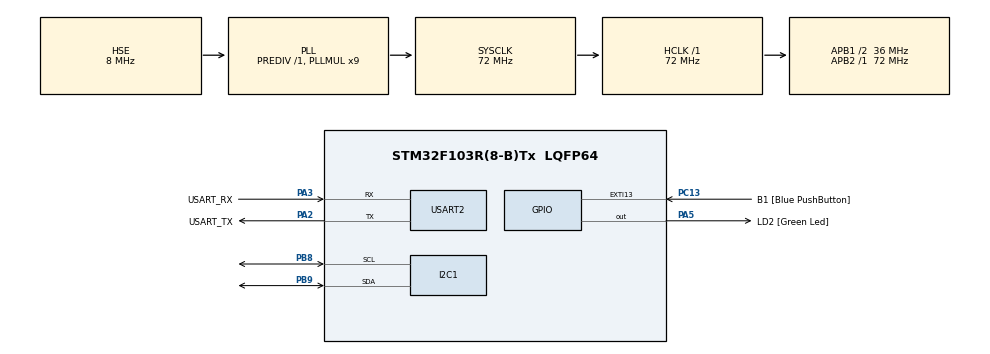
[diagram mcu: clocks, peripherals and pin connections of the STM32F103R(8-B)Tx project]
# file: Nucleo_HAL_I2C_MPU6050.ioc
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Mcu.Family=STM32F1
Mcu.Name=STM32F103R(8-B)Tx
Mcu.Package=LQFP64
NVIC.EXTI15_10_IRQn=true\:0\:0\:false\:false\:true\:true\:true
NVIC.PriorityGroup=NVIC_PRIORITYGROUP_4
PA13.GPIO_Label=TMS
PA13.Mode=Serial_Wire
PA13.Signal=SYS_JTMS-SWDIO
PA14.GPIO_Label=TCK
PA14.Mode=Serial_Wire
PA14.Signal=SYS_JTCK-SWCLK
PA2.GPIO_Label=USART_TX
PA2.GPIO_Mode=GPIO_MODE_AF_PP
PA2.GPIO_PuPd=GPIO_NOPULL
PA2.GPIO_Speed=GPIO_SPEED_FREQ_LOW
PA2.Mode=Asynchronous
PA2.Signal=USART2_TX
PA3.GPIO_Label=USART_RX
PA3.GPIO_Mode=GPIO_MODE_AF_PP
PA3.GPIO_PuPd=GPIO_NOPULL
PA3.GPIO_Speed=GPIO_SPEED_FREQ_LOW
PA3.Mode=Asynchronous
PA3.Signal=USART2_RX
PA5.GPIO_Label=LD2 [Green Led]
PA5.GPIO_ModeDefaultOutputPP=GPIO_MODE_OUTPUT_PP
PA5.GPIO_PuPd=GPIO_NOPULL
PA5.GPIO_Speed=GPIO_SPEED_FREQ_LOW
PA5.Signal=GPIO_Output
PB3.GPIO_Label=SWO
PB3.Signal=SYS_JTDO-TRACESWO
PB8.Mode=I2C
PB8.Signal=I2C1_SCL
PB9.Mode=I2C
PB9.Signal=I2C1_SDA
PC13-TAMPER-RTC.GPIO_Label=B1 [Blue PushButton]
PC13-TAMPER-RTC.GPIO_PuPd=GPIO_NOPULL
PC13-TAMPER-RTC.Signal=GPXTI13
PC14-OSC32_IN.Mode=LSE-External-Oscillator
PC14-OSC32_IN.Signal=RCC_OSC32_IN
PC15-OSC32_OUT.Mode=LSE-External-Oscillator
PC15-OSC32_OUT.Signal=RCC_OSC32_OUT
PD0-OSC_IN.Mode=HSE-External-Clock-Source
PD0-OSC_IN.Signal=RCC_OSC_IN
PD1-OSC_OUT.Mode=HSE-External-Clock-Source
PD1-OSC_OUT.Signal=RCC_OSC_OUT
ProjectManager.HeapSize=0x200
ProjectManager.StackSize=0x400
ProjectManager.TargetToolchain=SW4STM32
RCC.AHBFreq_Value=72000000
RCC.APB1CLKDivider=RCC_HCLK_DIV2
RCC.APB1Freq_Value=36000000
RCC.APB1TimFreq_Value=72000000
RCC.APB2Freq_Value=72000000
RCC.APB2TimFreq_Value=72000000
RCC.HCLKFreq_Value=72000000
RCC.PLLMUL=RCC_PLL_MUL9
RCC.PLLSourceVirtual=RCC_PLLSOURCE_HSE
RCC.RTCClockSelection=RCC_RTCCLKSOURCE_LSE
RCC.SYSCLKFreq_VALUE=72000000
RCC.SYSCLKSource=RCC_SYSCLKSOURCE_PLLCLK
RCC.USBFreq_Value=72000000
USART2.VirtualMode=VM_ASYNC
board=NUCLEO-F103RB

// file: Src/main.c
/* USER CODE BEGIN Header */
/**
  ******************************************************************************
  * @file           : main.c
  * @brief          : Main program body
  ******************************************************************************
  * @attention
  *
  * <h2><center>&copy; Copyright (c) 2019 STMicroelectronics.
  * All rights reserved.</center></h2>
  *
  * This software component is licensed by ST under BSD 3-Clause license,
  * the "License"; You may not use this file except in compliance with the
  * License. You may obtain a copy of the License at:
  *                        opensource.org/licenses/BSD-3-Clause
  *
  ******************************************************************************
  */
/* USER CODE END Header */

#include "main.h"

/* USER CODE BEGIN Includes */
#include "MPU6050.h"
/* USER CODE END Includes */

I2C_HandleTypeDef hi2c1;

UART_HandleTypeDef huart2;

void SystemClock_Config(void);
static void MX_GPIO_Init(void);
static void MX_USART2_UART_Init(void);
static void MX_I2C1_Init(void);
/* USER CODE BEGIN PFP */
int16_t Accel_X, Accel_Y, Accel_Z;
int16_t Gyro_X, Gyro_Y, Gyro_Z;
//uint8_t MPU6050 = MPU6050_DEFAULT_ADDRESS;
uint8_t MPU6050 = 0;
/* USER CODE END PFP */

/* USER CODE BEGIN 0 */
void MPU6050_Write(uint8_t Address, uint8_t data){
  HAL_I2C_Mem_Write(&hi2c1, MPU6050, Address, 1, (uint8_t *)&data, 1, 10);
}

void MPU6050_Write_bits(uint8_t Address, uint8_t bitStart, uint8_t length, uint8_t data){
  uint8_t tmp = 0;
  HAL_I2C_Mem_Read(&hi2c1, MPU6050, Address, 1, (uint8_t *)&tmp, 1, 10);
  uint8_t mask = 0;
  switch(length){
    case 1: mask = 0x01; break;
    case 2: mask = 0x03; break;
    case 3: mask = 0x07; break;
    case 4: mask = 0x0F; break;
    case 5: mask = 0x1F; break;
    case 6: mask = 0x3F; break;
    case 7: mask = 0x7F; break;
    case 8: mask = 0xFF; break;
  }
  tmp &= ~(mask << bitStart);
  tmp |= (data << bitStart);
  HAL_I2C_Mem_Write(&hi2c1, MPU6050, Address, 1, (uint8_t *)&tmp, 1, 10);
}

uint8_t MPU6050_Read(uint8_t Address){
  uint8_t data;
  HAL_I2C_Mem_Read(&hi2c1, MPU6050, Address, 1, (uint8_t *)&data, 1, 10);
  return data;
}

void init_MPU6050(void){
  while(HAL_I2C_IsDeviceReady(&hi2c1, MPU6050, 10, 1000)!=HAL_OK) {
    MPU6050++;
  }
  printf("MPU6050 I2C Address is 0x%02X(7bit value)\r\n", MPU6050>>1);

  uint8_t temp = MPU6050_Read(MPU6050_RA_WHO_AM_I);
  printf("Who am I = 0x%02X\r\n", temp);
  printf("MPU6050 Initialize..... \r\n");
  printf("--------------------------------------------------------\r\n");

  HAL_Delay(100);
  /* Power Management 1, SLEEP Diasble*/
  MPU6050_Write_bits(MPU6050_RA_PWR_MGMT_1, MPU6050_PWR1_SLEEP_BIT, MPU6050_PWR1_SLEEP_LENGTH, DISABLE);
  HAL_Delay(10);
  /* Power Management 1, Internal 8MHz oscillator */
  MPU6050_Write_bits(MPU6050_RA_PWR_MGMT_1, MPU6050_PWR1_CLKSEL_BIT, MPU6050_PWR1_CLKSEL_LENGTH, MPU6050_CLOCK_INTERNAL);
  /* Gyroscope Configuration, �� 250 ��/s, 131 LSB/��/s */
  MPU6050_Write_bits(MPU6050_RA_GYRO_CONFIG, MPU6050_GCONFIG_FS_SEL_BIT, MPU6050_GCONFIG_FS_SEL_LENGTH, MPU6050_GYRO_FS_250);
  /* Accelerometer Configuration, �� 2g, 16384 LSB/g */
  MPU6050_Write_bits(MPU6050_RA_ACCEL_CONFIG, MPU6050_ACONFIG_AFS_SEL_BIT, MPU6050_ACONFIG_AFS_SEL_LENGTH, MPU6050_ACCEL_FS_2);
}

void read_MPU6050_data(void){
  Accel_X = (MPU6050_Read(MPU6050_RA_ACCEL_XOUT_H)<<8) | MPU6050_Read(MPU6050_RA_ACCEL_XOUT_L);
  Accel_Y = (MPU6050_Read(MPU6050_RA_ACCEL_YOUT_H)<<8) | MPU6050_Read(MPU6050_RA_ACCEL_YOUT_L);
  Accel_Z = (MPU6050_Read(MPU6050_RA_ACCEL_ZOUT_H)<<8) | MPU6050_Read(MPU6050_RA_ACCEL_ZOUT_L);
  Gyro_X  = (MPU6050_Read(MPU6050_RA_GYRO_XOUT_H)<<8)  | MPU6050_Read(MPU6050_RA_GYRO_XOUT_L);
  Gyro_Y  = (MPU6050_Read(MPU6050_RA_GYRO_YOUT_H)<<8)  | MPU6050_Read(MPU6050_RA_GYRO_YOUT_L);
  Gyro_Z  = (MPU6050_Read(MPU6050_RA_GYRO_ZOUT_H)<<8)  | MPU6050_Read(MPU6050_RA_GYRO_ZOUT_L);
}

int _write(int32_t file, uint8_t *ptr, int32_t len){
  HAL_UART_Transmit(&huart2, ptr, len, 10);
  return len;
}

/* USER CODE END 0 */

int main(void)
{

  /* MCU Configuration--------------------------------------------------------*/

  /* Reset of all peripherals, Initializes the Flash interface and the Systick. */
  HAL_Init();

  /* Configure the system clock */
  SystemClock_Config();

  /* Initialize all configured peripherals */
  MX_GPIO_Init();
  MX_USART2_UART_Init();
  MX_I2C1_Init();
  //init_MPU6050();
  /* Infinite loop */
  while (1)
  {
	  HAL_GPIO_WritePin(LD2_GPIO_Port, LD2_Pin, GPIO_PIN_SET);
	     read_MPU6050_data();
	     printf("Acce_X = %6d / Acce_Y = %6d / Acce_Z = %6d \r\n", Accel_X, Accel_Y, Accel_Z);
	     printf("Gyro_X = %6d / Gyro_Y = %6d / Gyro_Z = %6d \r\n", Gyro_X, Gyro_Y, Gyro_Z);
	     printf("--------------------------------------------------------\r\n");
	     HAL_GPIO_WritePin(LD2_GPIO_Port, LD2_Pin, GPIO_PIN_RESET);
	     HAL_Delay(1000);

  }
}

void SystemClock_Config(void)
{
  RCC_OscInitTypeDef RCC_OscInitStruct = {0};
  RCC_ClkInitTypeDef RCC_ClkInitStruct = {0};

  /** Initializes the CPU, AHB and APB busses clocks
  */
  RCC_OscInitStruct.OscillatorType = RCC_OSCILLATORTYPE_HSE;
  RCC_OscInitStruct.HSEState = RCC_HSE_BYPASS;
  RCC_OscInitStruct.HSEPredivValue = RCC_HSE_PREDIV_DIV1;
  RCC_OscInitStruct.HSIState = RCC_HSI_ON;
  RCC_OscInitStruct.PLL.PLLState = RCC_PLL_ON;
  RCC_OscInitStruct.PLL.PLLSource = RCC_PLLSOURCE_HSE;
  RCC_OscInitStruct.PLL.PLLMUL = RCC_PLL_MUL9;
  if (HAL_RCC_OscConfig(&RCC_OscInitStruct) != HAL_OK)
  {
    Error_Handler();
  }
  /** Initializes the CPU, AHB and APB busses clocks
  */
  RCC_ClkInitStruct.ClockType = RCC_CLOCKTYPE_HCLK|RCC_CLOCKTYPE_SYSCLK
                              |RCC_CLOCKTYPE_PCLK1|RCC_CLOCKTYPE_PCLK2;
  RCC_ClkInitStruct.SYSCLKSource = RCC_SYSCLKSOURCE_PLLCLK;
  RCC_ClkInitStruct.AHBCLKDivider = RCC_SYSCLK_DIV1;
  RCC_ClkInitStruct.APB1CLKDivider = RCC_HCLK_DIV2;
  RCC_ClkInitStruct.APB2CLKDivider = RCC_HCLK_DIV1;

  if (HAL_RCC_ClockConfig(&RCC_ClkInitStruct, FLASH_LATENCY_2) != HAL_OK)
  {
    Error_Handler();
  }
}

static void MX_I2C1_Init(void)
{

  hi2c1.Instance = I2C1;
  hi2c1.Init.ClockSpeed = 100000;
  hi2c1.Init.DutyCycle = I2C_DUTYCYCLE_2;
  hi2c1.Init.OwnAddress1 = 0;
  hi2c1.Init.AddressingMode = I2C_ADDRESSINGMODE_7BIT;
  hi2c1.Init.DualAddressMode = I2C_DUALADDRESS_DISABLE;
  hi2c1.Init.OwnAddress2 = 0;
  hi2c1.Init.GeneralCallMode = I2C_GENERALCALL_DISABLE;
  hi2c1.Init.NoStretchMode = I2C_NOSTRETCH_DISABLE;
  if (HAL_I2C_Init(&hi2c1) != HAL_OK)
  {
    Error_Handler();
  }

}

static void MX_USART2_UART_Init(void)
{

  huart2.Instance = USART2;
  huart2.Init.BaudRate = 115200;
  huart2.Init.WordLength = UART_WORDLENGTH_8B;
  huart2.Init.StopBits = UART_STOPBITS_1;
  huart2.Init.Parity = UART_PARITY_NONE;
  huart2.Init.Mode = UART_MODE_TX_RX;
  huart2.Init.HwFlowCtl = UART_HWCONTROL_NONE;
  huart2.Init.OverSampling = UART_OVERSAMPLING_16;
  if (HAL_UART_Init(&huart2) != HAL_OK)
  {
    Error_Handler();
  }

}

static void MX_GPIO_Init(void)
{
  GPIO_InitTypeDef GPIO_InitStruct = {0};

  /* GPIO Ports Clock Enable */
  __HAL_RCC_GPIOC_CLK_ENABLE();
  __HAL_RCC_GPIOD_CLK_ENABLE();
  __HAL_RCC_GPIOA_CLK_ENABLE();
  __HAL_RCC_GPIOB_CLK_ENABLE();

  /*Configure GPIO pin Output Level */
  HAL_GPIO_WritePin(LD2_GPIO_Port, LD2_Pin, GPIO_PIN_RESET);

  /*Configure GPIO pin : B1_Pin */
  GPIO_InitStruct.Pin = B1_Pin;
  GPIO_InitStruct.Mode = GPIO_MODE_IT_RISING;
  GPIO_InitStruct.Pull = GPIO_NOPULL;
  HAL_GPIO_Init(B1_GPIO_Port, &GPIO_InitStruct);

  /*Configure GPIO pin : LD2_Pin */
  GPIO_InitStruct.Pin = LD2_Pin;
  GPIO_InitStruct.Mode = GPIO_MODE_OUTPUT_PP;
  GPIO_InitStruct.Pull = GPIO_NOPULL;
  GPIO_InitStruct.Speed = GPIO_SPEED_FREQ_LOW;
  HAL_GPIO_Init(LD2_GPIO_Port, &GPIO_InitStruct);

  /* EXTI interrupt init*/
  HAL_NVIC_SetPriority(EXTI15_10_IRQn, 0, 0);
  HAL_NVIC_EnableIRQ(EXTI15_10_IRQn);

}

void Error_Handler(void)
{
}

/************************ (C) COPYRIGHT STMicroelectronics *****END OF FILE****/
